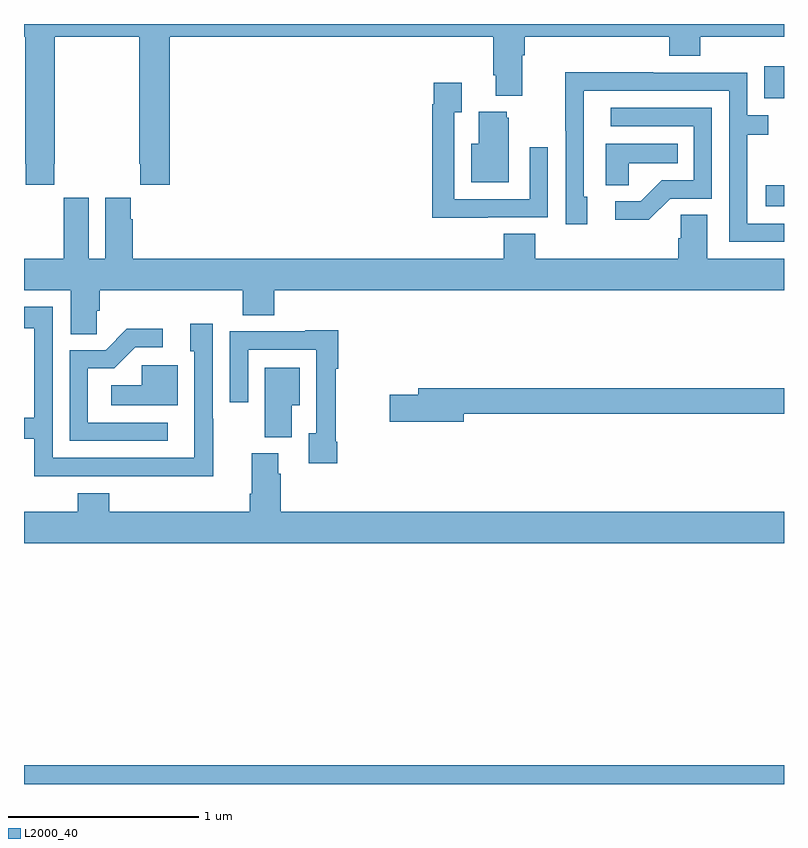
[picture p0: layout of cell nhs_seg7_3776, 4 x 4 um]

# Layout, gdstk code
import gdstk
lib = gdstk.Library(unit=1e-6, precision=1e-09)
def R(c, l, rs):  # rectangles x0, y0, x1, y1
    for r in rs: c.add(gdstk.rectangle(r[:2], r[2:], *l))
def P(c, l, *ps):  # polygons
    for p in ps: c.add(gdstk.Polygon(p, *l))
L2000_40 = (2000, 40)

nhs_seg7_3776 = lib.new_cell('nhs_seg7_3776')
R(nhs_seg7_3776, L2000_40, [(351,1014,355,1014.1), (354.903,1017.041,355,1017.151), (354.897,1017.609,355,1017.778)])
P(nhs_seg7_3776, L2000_40, [(351.159,1017.265),(351.162,1017.265),(351.162,1017.932),(351.607,1017.932),(351.607,1017.265),(351.613,1017.265),(351.613,1017.153),(351.767,1017.153),(351.767,1017.932),(353.471,1017.932),(353.471,1017.73),(353.483,1017.73),(353.483,1017.623),(353.623,1017.623),(353.623,1017.836),(353.636,1017.836),(353.636,1017.932),(354.395,1017.932),(354.395,1017.833),(354.56,1017.833),(354.56,1017.932),(355,1017.932),(355,1018),(351,1018),(351,1017.932),(351.007,1017.932),(351.007,1017.265),(351.009,1017.265),(351.009,1017.153),(351.159,1017.153)],
  [(355,1016.949),(354.807,1016.949),(354.807,1017.418),(354.917,1017.418),(354.917,1017.519),(354.807,1017.519),(354.807,1017.744),(354.311,1017.744),(354.311,1017.746),(353.848,1017.746),(353.848,1017.439),(353.85,1017.439),(353.85,1016.946),(353.965,1016.946),(353.965,1017.09),(353.946,1017.09),(353.946,1017.648),(354.711,1017.648),(354.711,1016.853),(355,1016.853)],
  [(353.441,1016.982),(353.757,1016.982),(353.757,1017.352),(353.661,1017.352),(353.661,1017.078),(353.265,1017.078),(353.265,1017.535),(353.305,1017.535),(353.305,1017.691),(353.157,1017.691),(353.157,1017.578),(353.149,1017.578),(353.149,1016.981),(353.441,1016.981)],
  [(354.402,1017.081),(354.621,1017.081),(354.621,1017.558),(354.087,1017.558),(354.087,1017.462),(354.525,1017.462),(354.525,1017.177),(354.356,1017.177),(354.245,1017.066),(354.111,1017.066),(354.111,1016.969),(354.289,1016.969)],
  [(353.551,1017.507),(353.54,1017.507),(353.54,1017.538),(353.393,1017.538),(353.393,1017.37),(353.354,1017.37),(353.354,1017.167),(353.551,1017.167)],
  [(354.183,1017.266),(354.44,1017.266),(354.44,1017.37),(354.062,1017.37),(354.062,1017.151),(354.183,1017.151)],
  [(355,1016.764),(354.595,1016.764),(354.595,1016.996),(354.456,1016.996),(354.456,1016.873),(354.443,1016.873),(354.443,1016.764),(353.69,1016.764),(353.69,1016.897),(353.525,1016.897),(353.525,1016.764),(351.572,1016.764),(351.572,1016.972),(351.562,1016.972),(351.562,1017.085),(351.428,1017.085),(351.428,1016.764),(351.34,1016.764),(351.34,1017.085),(351.21,1017.085),(351.21,1016.972),(351.209,1016.972),(351.209,1016.764),(351,1016.764),(351,1016.6),(351.245,1016.6),(351.245,1016.368),(351.384,1016.368),(351.384,1016.491),(351.398,1016.491),(351.398,1016.6),(352.151,1016.6),(352.151,1016.467),(352.316,1016.467),(352.316,1016.6),(355,1016.6)],
  [(351.995,1015.922),(351.993,1015.922),(351.993,1016.422),(351.875,1016.422),(351.875,1016.277),(351.897,1016.277),(351.897,1015.716),(351.15,1015.716),(351.15,1016.511),(351,1016.511),(351,1016.4),(351.053,1016.4),(351.053,1015.927),(351,1015.927),(351,1015.818),(351.054,1015.818),(351.054,1015.62),(351.532,1015.62),(351.532,1015.619),(351.995,1015.619)],
  [(351.757,1015.902),(351.336,1015.902),(351.336,1016.187),(351.474,1016.187),(351.585,1016.298),(351.73,1016.298),(351.73,1016.396),(351.542,1016.396),(351.429,1016.283),(351.24,1016.283),(351.24,1015.806),(351.757,1015.806)],
  [(352.648,1015.801),(352.64,1015.801),(352.64,1016.185),(352.655,1016.185),(352.655,1016.389),(352.479,1016.389),(352.479,1016.382),(352.083,1016.382),(352.083,1016.01),(352.179,1016.01),(352.179,1016.286),(352.539,1016.286),(352.539,1015.845),(352.499,1015.845),(352.499,1015.689),(352.648,1015.689)],
  [(351.808,1016.205),(351.621,1016.205),(351.621,1016.098),(351.459,1016.098),(351.459,1015.994),(351.808,1015.994)],
  [(352.408,1015.994),(352.45,1015.994),(352.45,1016.191),(352.268,1016.191),(352.268,1015.825),(352.408,1015.825)],
  [(353.314,1015.948),(355,1015.948),(355,1016.084),(353.075,1016.084),(353.075,1016.048),(352.926,1016.048),(352.926,1015.906),(353.314,1015.906)],
  [(355,1015.432),(352.352,1015.432),(352.352,1015.634),(352.339,1015.634),(352.339,1015.74),(352.199,1015.74),(352.199,1015.528),(352.187,1015.528),(352.187,1015.432),(351.449,1015.432),(351.449,1015.531),(351.284,1015.531),(351.284,1015.432),(351,1015.432),(351,1015.268),(355,1015.268)])

lib.write_gds('nhs_seg7_3776.gds')
